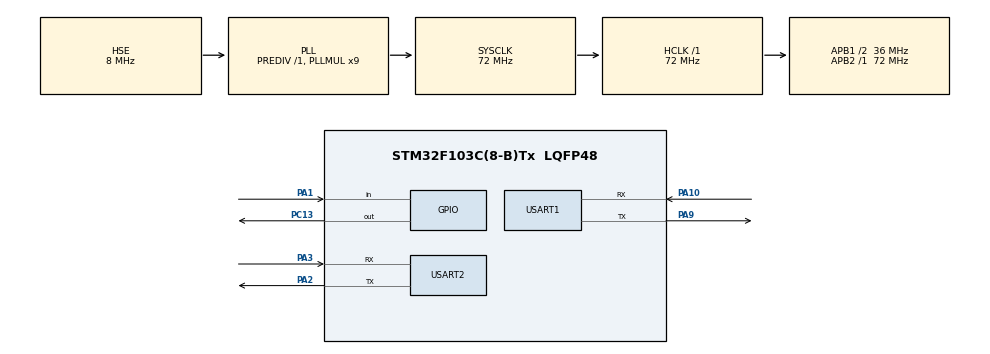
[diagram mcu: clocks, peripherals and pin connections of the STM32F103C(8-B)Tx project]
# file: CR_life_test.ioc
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FREERTOS.Queues01=CmdDataQueue,16,uint8_t,0,Dynamic,NULL,NULL;SensorMessageQueue,16,SensorMessage*,0,Dynamic,NULL,NULL;CmdCtrlQueue,16,uint8_t,0,Dynamic,NULL,NULL;CmdQueue,16,uint8_t,0,Dynamic,NULL,NULL
FREERTOS.Tasks01=DataTask,24,128,StartDataTask,As weak,NULL,Dynamic,NULL,NULL;CmdCtrlTask,40,128,StartCmdCtrlTask,As external,NULL,Dynamic,NULL,NULL
Mcu.Family=STM32F1
Mcu.Name=STM32F103C(8-B)Tx
Mcu.Package=LQFP48
NVIC.PriorityGroup=NVIC_PRIORITYGROUP_4
NVIC.TIM4_IRQn=true\:15\:0\:false\:false\:true\:false\:false\:true\:true
NVIC.TimeBase=TIM4_IRQn
NVIC.TimeBaseIP=TIM4
NVIC.USART1_IRQn=true\:5\:0\:false\:false\:true\:true\:true\:true\:true
NVIC.USART2_IRQn=true\:5\:0\:false\:false\:true\:true\:true\:true\:true
PA1.GPIO_PuPd=GPIO_PULLUP
PA1.Signal=GPIO_Input
PA10.Mode=Asynchronous
PA10.Signal=USART1_RX
PA13.Mode=Serial_Wire
PA13.Signal=SYS_JTMS-SWDIO
PA14.Mode=Serial_Wire
PA14.Signal=SYS_JTCK-SWCLK
PA2.Mode=Asynchronous
PA2.Signal=USART2_TX
PA3.Mode=Asynchronous
PA3.Signal=USART2_RX
PA9.Mode=Asynchronous
PA9.Signal=USART1_TX
PC13-TAMPER-RTC.GPIO_PuPd=GPIO_NOPULL
PC13-TAMPER-RTC.Signal=GPIO_Output
PD0-OSC_IN.Mode=HSE-External-Oscillator
PD0-OSC_IN.Signal=RCC_OSC_IN
PD1-OSC_OUT.Mode=HSE-External-Oscillator
PD1-OSC_OUT.Signal=RCC_OSC_OUT
ProjectManager.HeapSize=0x200
ProjectManager.StackSize=0x400
ProjectManager.TargetToolchain=CMake
RCC.AHBFreq_Value=72000000
RCC.APB1CLKDivider=RCC_HCLK_DIV2
RCC.APB1Freq_Value=36000000
RCC.APB1TimFreq_Value=72000000
RCC.APB2Freq_Value=72000000
RCC.APB2TimFreq_Value=72000000
RCC.HCLKFreq_Value=72000000
RCC.PLLMUL=RCC_PLL_MUL9
RCC.PLLSourceVirtual=RCC_PLLSOURCE_HSE
RCC.SYSCLKFreq_VALUE=72000000
RCC.SYSCLKSource=RCC_SYSCLKSOURCE_PLLCLK
RCC.USBFreq_Value=72000000
USART1.VirtualMode=VM_ASYNC
USART2.VirtualMode=VM_ASYNC
VP_FREERTOS_VS_CMSIS_V2.Mode=CMSIS_V2
VP_SYS_VS_tim4.Mode=TIM4
board=custom

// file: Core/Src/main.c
/* USER CODE BEGIN Header */
/**
  ******************************************************************************
  * @file           : main.c
  * @brief          : Main program body
  ******************************************************************************
  * @attention
  *
  * Copyright (c) 2026 STMicroelectronics.
  * All rights reserved.
  *
  * This software is licensed under terms that can be found in the LICENSE file
  * in the root directory of this software component.
  * If no LICENSE file comes with this software, it is provided AS-IS.
  *
  ******************************************************************************
  */
/* USER CODE END Header */
#include "main.h"
#include "cmsis_os.h"
#include "usart.h"
#include "gpio.h"

/* USER CODE BEGIN Includes */
#include "Net/esp8266.h"
#include "Net/onenet.h"

/* USER CODE END Includes */

void SystemClock_Config(void);
void MX_FREERTOS_Init(void);

int main(void)
{

  /* MCU Configuration--------------------------------------------------------*/

  /* Reset of all peripherals, Initializes the Flash interface and the Systick. */
  HAL_Init();

  /* Configure the system clock */
  SystemClock_Config();

  /* Initialize all configured peripherals */
  MX_GPIO_Init();
  MX_USART1_UART_Init();
  MX_USART2_UART_Init();
  /* USER CODE BEGIN 2 */
  /* 在调度器启动前挂上 USART2 接收中断，否则 HAL 不会在 RXNE 中断里调用 HAL_UART_RxCpltCallback */
  UART2_Receive_Start();
  // 启动串口1的中断接收
  UART1_Receive_Start();
  // test
  for(int i = 0; i < 4; i++) {
    HAL_GPIO_WritePin(GPIOC, GPIO_PIN_13, GPIO_PIN_RESET);
    HAL_Delay(500);
    HAL_GPIO_WritePin(GPIOC, GPIO_PIN_13, GPIO_PIN_SET);
    HAL_Delay(500);
  }
  HAL_GPIO_WritePin(GPIOC, GPIO_PIN_13, GPIO_PIN_SET);

  /*
  ESP8266_Init();
  while(OneNet_DevLink())		//接入OneNET
    HAL_GPIO_WritePin(GPIOC, GPIO_PIN_13, GPIO_PIN_RESET);
    */
  /* USER CODE END 2 */

  /* Init scheduler */
  osKernelInitialize();  /* Call init function for freertos objects (in cmsis_os2.c) */
  MX_FREERTOS_Init();

  /* Start scheduler */
  osKernelStart();

  /* We should never get here as control is now taken by the scheduler */

  /* Infinite loop */
  while (1)
  {

  }
}

void SystemClock_Config(void)
{
  RCC_OscInitTypeDef RCC_OscInitStruct = {0};
  RCC_ClkInitTypeDef RCC_ClkInitStruct = {0};

  /** Initializes the RCC Oscillators according to the specified parameters
  * in the RCC_OscInitTypeDef structure.
  */
  RCC_OscInitStruct.OscillatorType = RCC_OSCILLATORTYPE_HSE;
  RCC_OscInitStruct.HSEState = RCC_HSE_ON;
  RCC_OscInitStruct.HSEPredivValue = RCC_HSE_PREDIV_DIV1;
  RCC_OscInitStruct.HSIState = RCC_HSI_ON;
  RCC_OscInitStruct.PLL.PLLState = RCC_PLL_ON;
  RCC_OscInitStruct.PLL.PLLSource = RCC_PLLSOURCE_HSE;
  RCC_OscInitStruct.PLL.PLLMUL = RCC_PLL_MUL9;
  if (HAL_RCC_OscConfig(&RCC_OscInitStruct) != HAL_OK)
  {
    Error_Handler();
  }

  /** Initializes the CPU, AHB and APB buses clocks
  */
  RCC_ClkInitStruct.ClockType = RCC_CLOCKTYPE_HCLK|RCC_CLOCKTYPE_SYSCLK
                              |RCC_CLOCKTYPE_PCLK1|RCC_CLOCKTYPE_PCLK2;
  RCC_ClkInitStruct.SYSCLKSource = RCC_SYSCLKSOURCE_PLLCLK;
  RCC_ClkInitStruct.AHBCLKDivider = RCC_SYSCLK_DIV1;
  RCC_ClkInitStruct.APB1CLKDivider = RCC_HCLK_DIV2;
  RCC_ClkInitStruct.APB2CLKDivider = RCC_HCLK_DIV1;

  if (HAL_RCC_ClockConfig(&RCC_ClkInitStruct, FLASH_LATENCY_2) != HAL_OK)
  {
    Error_Handler();
  }
}

void HAL_TIM_PeriodElapsedCallback(TIM_HandleTypeDef *htim)
{
  if (htim->Instance == TIM4)
  {
    HAL_IncTick();
  }
}

void Error_Handler(void)
{
  __disable_irq();
  while (1)
  {
  }
}

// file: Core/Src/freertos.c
/* USER CODE BEGIN Header */
/**
  ******************************************************************************
  * File Name          : freertos.c
  * Description        : Code for freertos applications
  ******************************************************************************
  * @attention
  *
  * Copyright (c) 2026 STMicroelectronics.
  * All rights reserved.
  *
  * This software is licensed under terms that can be found in the LICENSE file
  * in the root directory of this software component.
  * If no LICENSE file comes with this software, it is provided AS-IS.
  *
  ******************************************************************************
  */
/* USER CODE END Header */

#include "FreeRTOS.h"
#include "task.h"
#include "main.h"
#include "cmsis_os.h"

/* USER CODE BEGIN Includes */
#include "Types/SensorType.h"
#include "Types/CmdCtrlType.h"
/* USER CODE END Includes */

/* USER CODE BEGIN Variables */
/* Definitions for Usart1Mutex */
// 创建Usart1锁
osMutexId_t Usart1MutexHandle;
// 定义Usart1锁的相关属性
const osMutexAttr_t Usart1Mutex_attributes = {
  .name = "Usart1Mutex"
};
// 创建Usart2锁
osMutexId_t Usart2MutexHandle;
// 定义Usart2锁的相关属性
const osMutexAttr_t Usart2Mutex_attributes = {
  .name = "Usart2Mutex"
};
/* USER CODE END Variables */
/* Definitions for DataTask */
osThreadId_t DataTaskHandle;
const osThreadAttr_t DataTask_attributes = {
  .name = "DataTask",
  .stack_size = 128 * 4,
  .priority = (osPriority_t) osPriorityNormal,
};
/* Definitions for CmdCtrlTask */
osThreadId_t CmdCtrlTaskHandle;
const osThreadAttr_t CmdCtrlTask_attributes = {
  .name = "CmdCtrlTask",
  .stack_size = 128 * 4,
  .priority = (osPriority_t) osPriorityHigh,
};
/* Definitions for CmdDataQueue */
osMessageQueueId_t CmdDataQueueHandle;
const osMessageQueueAttr_t CmdDataQueue_attributes = {
  .name = "CmdDataQueue"
};
/* Definitions for SensorMessageQueue */
osMessageQueueId_t SensorMessageQueueHandle;
const osMessageQueueAttr_t SensorMessageQueue_attributes = {
  .name = "SensorMessageQueue"
};
/* Definitions for CmdCtrlQueue */
osMessageQueueId_t CmdCtrlQueueHandle;
const osMessageQueueAttr_t CmdCtrlQueue_attributes = {
  .name = "CmdCtrlQueue"
};
/* Definitions for CmdQueue */
osMessageQueueId_t CmdQueueHandle;
const osMessageQueueAttr_t CmdQueue_attributes = {
  .name = "CmdQueue"
};

void StartDataTask(void *argument);
extern void StartCmdCtrlTask(void *argument);

void MX_FREERTOS_Init(void); /* (MISRA C 2004 rule 8.1) */

void MX_FREERTOS_Init(void) {

  /* USER CODE BEGIN RTOS_MUTEX */
  /* add mutexes, ... */
  /* creation of Usart1Mutex */
  Usart1MutexHandle = osMutexNew(&Usart1Mutex_attributes);
  /* creation of Usart2Mutex */
  Usart2MutexHandle = osMutexNew(&Usart2Mutex_attributes);
  /* USER CODE END RTOS_MUTEX */

  /* Create the queue(s) */
  /* creation of CmdDataQueue */
  CmdDataQueueHandle = osMessageQueueNew (16, sizeof(uint8_t), &CmdDataQueue_attributes);

  /* creation of SensorMessageQueue */
  SensorMessageQueueHandle = osMessageQueueNew (16, sizeof(SensorMessage*), &SensorMessageQueue_attributes);

  /* creation of CmdCtrlQueue */
  CmdCtrlQueueHandle = osMessageQueueNew (16, sizeof(uint8_t), &CmdCtrlQueue_attributes);

  /* creation of CmdQueue */
  CmdQueueHandle = osMessageQueueNew (16, sizeof(uint8_t), &CmdQueue_attributes);

  /* Create the thread(s) */
  /* creation of DataTask */
  DataTaskHandle = osThreadNew(StartDataTask, NULL, &DataTask_attributes);

  /* creation of CmdCtrlTask */
  CmdCtrlTaskHandle = osThreadNew(StartCmdCtrlTask, NULL, &CmdCtrlTask_attributes);

}

__weak void StartDataTask(void *argument)
{
  for(;;)
  {
    osDelay(1);
  }
}
